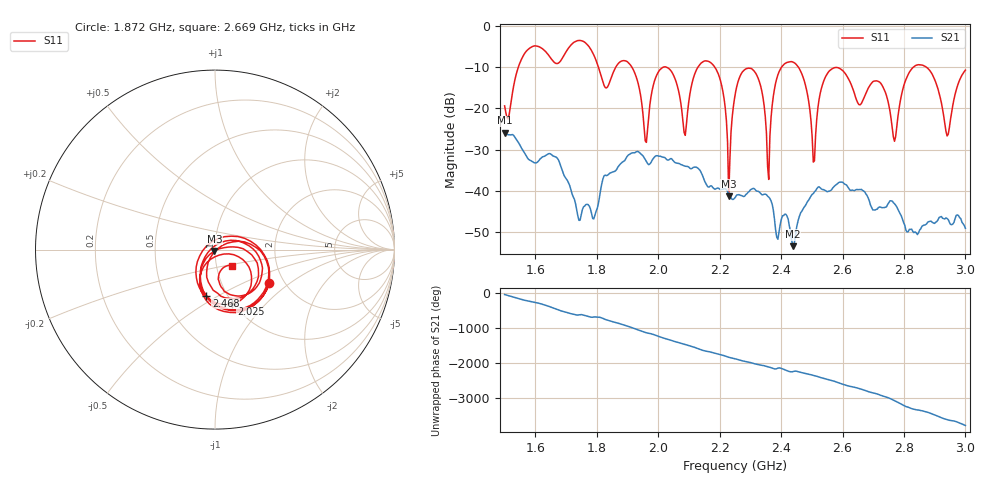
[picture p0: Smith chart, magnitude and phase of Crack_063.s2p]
# HZ S RI R 50
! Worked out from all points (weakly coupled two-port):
!   404 points, 1.5 GHz to 3 GHz, reference 50 ohm
!   highest |S21| = -25.91 dB at 1.5 GHz (marker M1); lowest = -53.4 dB at 2.438 GHz (marker M2)
!   lowest |S11| = -41.3 dB at 2.23 GHz (marker M3), VSWR 1.02, Z = 49.6 - j0.778 ohm
!   |S11| at or under -10 dB: 2.184 GHz to 2.402 GHz (217.6 MHz wide, 9.49 % of centre); 2.456 GHz to 2.831 GHz (374.8 MHz wide, 14.2 % of centre); 2.872 GHz to end of sweep (the widest 3 of 7)
!   S12 and S22 are empty: the file has one direction only
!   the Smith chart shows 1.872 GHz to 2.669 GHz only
!   S11 on the Smith chart (normalised r, x): 1.872 GHz: 1.68, -0.71; 2.025 GHz: 0.98, -0.66; 2.468 GHz: 0.80, -0.44; 2.669 GHz: 1.19, -0.22
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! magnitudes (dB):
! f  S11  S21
! 1.5 GHz  -19.4  -25.9
! 1.578 GHz  -5.6  -32.4
! 1.753 GHz  -3.7  -44.6
! 1.872 GHz  -9.0  -33.9
! 1.962 GHz  -28.3  -32.9
! 2.002 GHz  -10.9  -31.6
! 2.025 GHz  -10.0  -32.2
! 2.088 GHz  -26.6  -34.1
! 2.181 GHz  -9.7  -39.5
! 2.23 GHz  -41.3  -40.8
! 2.252 GHz  -16.1  -41.5
! 2.315 GHz  -11.3  -39.7
! 2.36 GHz  -37.3  -41.5
! 2.438 GHz  -8.8  -53.4
! 2.468 GHz  -11.7  -45.0
! 2.501 GHz  -27.0  -40.9
! 2.565 GHz  -10.5  -39.8
! 2.669 GHz  -17.7  -40.1
! 2.751 GHz  -19.2  -42.9
! 2.862 GHz  -9.6  -48.4
! 2.94 GHz  -26.7  -46.7
! 3 GHz  -10.7  -49.1
